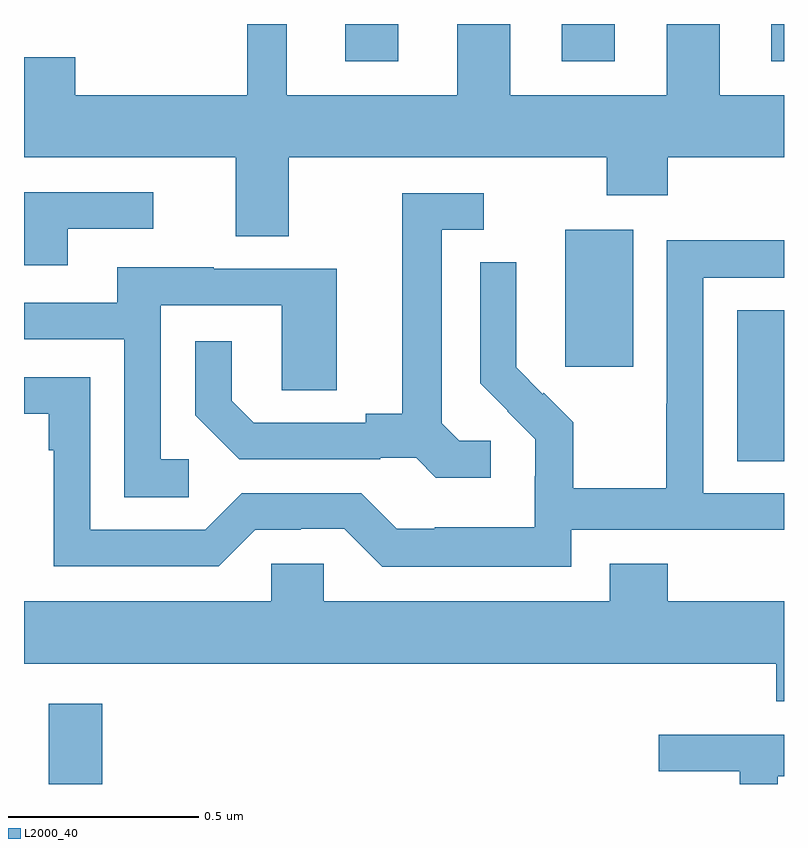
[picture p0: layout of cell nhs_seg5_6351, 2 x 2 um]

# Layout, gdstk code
import gdstk
lib = gdstk.Library(unit=1e-6, precision=1e-09)
def R(c, l, rs):  # rectangles x0, y0, x1, y1
    for r in rs: c.add(gdstk.rectangle(r[:2], r[2:], *l))
def P(c, l, *ps):  # polygons
    for p in ps: c.add(gdstk.Polygon(p, *l))
L2000_40 = (2000, 40)

nhs_seg5_6351 = lib.new_cell('nhs_seg5_6351')
R(nhs_seg5_6351, L2000_40, [(195.065,833.799,195.206,834.01), (196.877,834.649,197,835.046), (196.424,834.897,196.603,835.258), (195.845,835.701,195.985,835.799), (196.415,835.701,196.555,835.799), (196.967,835.701,197,835.799)])
P(nhs_seg5_6351, L2000_40, [(195.697,835.448),(196.534,835.448),(196.534,835.349),(196.694,835.349),(196.694,835.448),(197,835.448),(197,835.612),(196.831,835.612),(196.831,835.799),(196.691,835.799),(196.691,835.612),(196.279,835.612),(196.279,835.799),(196.14,835.799),(196.14,835.612),(195.691,835.612),(195.691,835.799),(195.587,835.799),(195.587,835.612),(195.135,835.612),(195.135,835.711),(195,835.711),(195,835.448),(195.557,835.448),(195.557,835.24),(195.697,835.24)],
  [(195.115,835.26),(195.34,835.26),(195.34,835.356),(195,835.356),(195,835.164),(195.115,835.164)],
  [(196.228,834.702),(196.146,834.702),(196.099,834.749),(196.099,835.257),(196.21,835.257),(196.21,835.353),(195.995,835.353),(195.995,834.773),(195.899,834.773),(195.899,834.75),(195.604,834.75),(195.547,834.807),(195.547,834.964),(195.45,834.964),(195.45,834.77),(195.566,834.654),(195.938,834.654),(195.938,834.657),(196.032,834.657),(196.084,834.605),(196.228,834.605)],
  [(196.44,834.468),(197,834.468),(197,834.564),(196.788,834.564),(196.788,835.131),(197,835.131),(197,835.23),(196.692,835.23),(196.692,834.8),(196.69,834.8),(196.69,834.577),(196.445,834.577),(196.445,834.751),(196.368,834.828),(196.365,834.825),(196.295,834.896),(196.295,835.018),(196.296,835.018),(196.296,835.172),(196.2,835.172),(196.2,834.854),(196.273,834.781),(196.272,834.78),(196.346,834.706),(196.346,834.609),(196.344,834.609),(196.344,834.475),(196.081,834.475),(196.081,834.471),(195.981,834.471),(195.888,834.564),(195.573,834.564),(195.477,834.468),(195.174,834.468),(195.174,834.87),(195,834.87),(195,834.774),(195.065,834.774),(195.065,834.677),(195.078,834.677),(195.078,834.372),(195.513,834.372),(195.609,834.468),(195.728,834.468),(195.728,834.471),(195.843,834.471),(195.943,834.371),(196.44,834.371)],
  [(195.433,834.654),(195.36,834.654),(195.36,835.059),(195.678,835.059),(195.678,834.835),(195.823,834.835),(195.823,835.155),(195.499,835.155),(195.499,835.159),(195.245,835.159),(195.245,835.065),(195,835.065),(195,834.969),(195.264,834.969),(195.264,834.553),(195.433,834.553)],
  [(197,834.28),(196.694,834.28),(196.694,834.379),(196.541,834.379),(196.541,834.28),(195.789,834.28),(195.789,834.378),(195.651,834.378),(195.651,834.28),(195,834.28),(195,834.116),(196.979,834.116),(196.979,834.017),(197,834.017)],
  [(196.983,833.82),(197,833.82),(197,833.928),(196.671,833.928),(196.671,833.832),(196.884,833.832),(196.884,833.799),(196.983,833.799)])

lib.write_gds('nhs_seg5_6351.gds')
